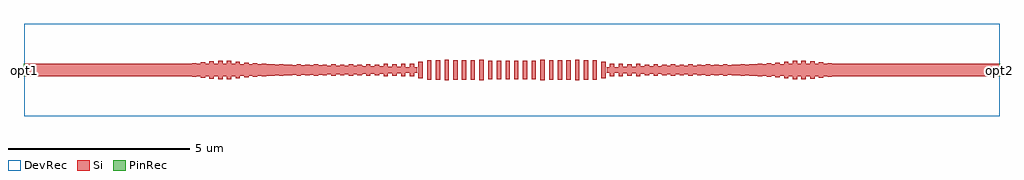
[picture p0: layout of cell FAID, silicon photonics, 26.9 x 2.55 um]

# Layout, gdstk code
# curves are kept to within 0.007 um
import gdstk
lib = gdstk.Library(unit=1e-6, precision=1e-09)
def R(c, l, rs):  # rectangles x0, y0, x1, y1
    for r in rs: c.add(gdstk.rectangle(r[:2], r[2:], *l))
def P(c, l, *ps):  # polygons
    for p in ps: c.add(gdstk.Polygon(p, *l))
Si = (1, 0)
PinRec = (1, 10)
DevRec = (68, 0)

faid = lib.new_cell('FAID')
R(faid, Si, [(-0.899,-0.277,-0.779,0.277), (0.779,-0.277,0.899,0.277), (-1.859,-0.276,-1.739,0.276), (1.739,-0.276,1.859,0.276), (-1.139,-0.275,-1.02,0.275), (1.02,-0.275,1.139,0.275), (-2.339,-0.274,-2.219,0.274), (2.219,-0.274,2.339,0.274), (-1.38,-0.272,-1.26,0.272), (1.26,-0.272,1.38,0.272), (-2.1,-0.269,-1.979,0.269), (1.979,-0.269,2.1,0.269), (-1.619,-0.268,-1.499,0.268), (1.499,-0.268,1.619,0.268), (-8.099,-0.253,-7.979,0.253), (7.979,-0.253,8.099,0.253), (-0.659,-0.25,-0.539,0.25), (-0.42,-0.25,-0.3,0.25), (-0.179,-0.25,-0.059,0.25), (0.059,-0.25,0.179,0.25), (0.3,-0.25,0.42,0.25), (0.539,-0.25,0.659,0.25), (-7.859,-0.249,-7.739,0.249), (7.739,-0.249,7.859,0.249), (-8.34,-0.235,-8.22,0.235), (8.22,-0.235,8.34,0.235), (-2.58,-0.229,-2.459,0.229), (2.459,-0.229,2.58,0.229), (-7.619,-0.227,-7.499,0.227), (7.499,-0.227,7.619,0.227), (-8.58,-0.21,-8.459,0.21), (8.459,-0.21,8.58,0.21), (-7.38,-0.203,-7.26,0.203), (7.26,-0.203,7.38,0.203), (-8.819,-0.19,-8.699,0.19), (8.699,-0.19,8.819,0.19), (-7.139,-0.185,-7.02,0.185), (7.02,-0.185,7.139,0.185), (-9.06,-0.179,-8.94,0.179), (8.94,-0.179,9.06,0.179), (-13.44,-0.175,-10.44,0.175), (10.44,-0.175,13.44,0.175), (-10.259,-0.174,-10.139,0.174), (10.139,-0.174,10.259,0.174), (-10.019,-0.173,-9.899,0.173), (-3.059,-0.173,-2.939,0.173), (2.939,-0.173,3.059,0.173), (9.899,-0.173,10.019,0.173), (-9.78,-0.171,-9.659,0.171), (9.659,-0.171,9.78,0.171), (-6.899,-0.17,-6.779,0.17), (6.779,-0.17,6.899,0.17), (-3.539,-0.168,-3.419,0.168), (3.419,-0.168,3.539,0.168), (-2.819,-0.167,-2.699,0.167), (2.699,-0.167,2.819,0.167), (-4.019,-0.162,-3.9,0.162), (3.9,-0.162,4.019,0.162), (-6.66,-0.161,-6.54,0.161), (6.54,-0.161,6.66,0.161), (-9.299,-0.16,-9.179,0.16), (9.179,-0.16,9.299,0.16), (-4.499,-0.158,-4.38,0.158), (4.38,-0.158,4.499,0.158), (-9.539,-0.157,-9.419,0.157), (-6.419,-0.157,-6.3,0.157), (-4.98,-0.157,-4.86,0.157), (4.86,-0.157,4.98,0.157), (6.3,-0.157,6.419,0.157), (9.419,-0.157,9.539,0.157), (-5.459,-0.155,-5.34,0.155), (5.34,-0.155,5.459,0.155), (-5.939,-0.154,-5.819,0.154), (5.819,-0.154,5.939,0.154), (-3.299,-0.153,-3.179,0.153), (3.179,-0.153,3.299,0.153), (-6.179,-0.151,-6.06,0.151), (6.06,-0.151,6.179,0.151), (-5.7,-0.145,-5.58,0.145), (5.58,-0.145,5.7,0.145), (-4.26,-0.143,-4.14,0.143), (-3.78,-0.143,-3.659,0.143), (3.659,-0.143,3.78,0.143), (4.14,-0.143,4.26,0.143), (-4.739,-0.142,-4.62,0.142), (4.62,-0.142,4.739,0.142), (-5.219,-0.141,-5.099,0.141), (5.099,-0.141,5.219,0.141)])
P(faid, Si, [(10.44,-0.175),(7.592,-0.167),(3.242,-0.092),(2.61,-0.07),(2.61,0.07),(3.875,0.107),(7.118,0.161),(10.44,0.175)],
  [(-10.44,-0.175),(-10.44,0.175),(-7.118,0.161),(-3.875,0.107),(-2.61,0.07),(-2.61,-0.07),(-3.242,-0.092),(-7.592,-0.167)])
R(faid, DevRec, [(-13.44,-1.277,13.44,1.277)])
faid.add(gdstk.FlexPath([(-13.43,0),(-13.45,0)], 0.35, ends="flush", simple_path=True, layer=1, datatype=10))  # PinRec
faid.add(gdstk.FlexPath([(13.43,0),(13.45,0)], 0.35, ends="flush", simple_path=True, layer=1, datatype=10))  # PinRec
faid.add(gdstk.Label('opt1', (-13.44,0), layer=1, texttype=10))
faid.add(gdstk.Label('opt2', (13.44,0), layer=1, texttype=10))

lib.write_gds('FAID.gds')
